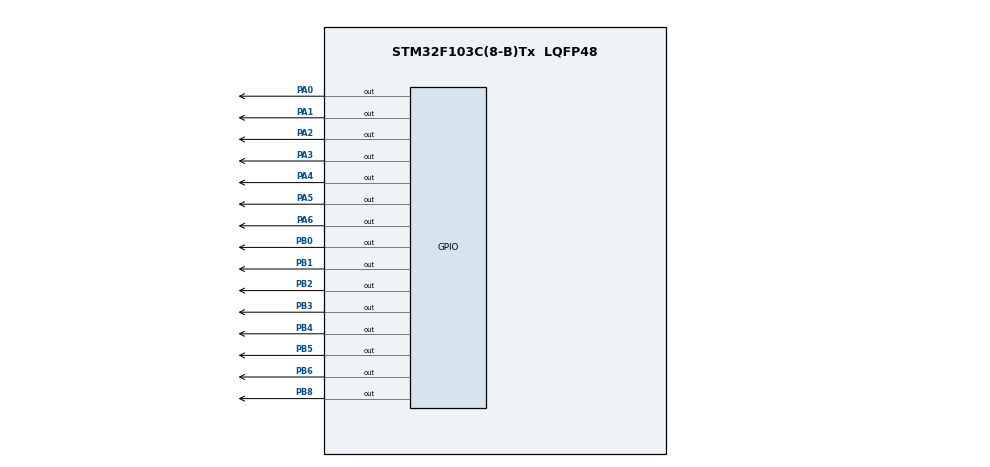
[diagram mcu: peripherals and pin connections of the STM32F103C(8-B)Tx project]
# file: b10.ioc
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Mcu.Family=STM32F1
Mcu.Name=STM32F103C(8-B)Tx
Mcu.Package=LQFP48
NVIC.PriorityGroup=NVIC_PRIORITYGROUP_4
NVIC.TIM2_IRQn=true\:0\:0\:false\:false\:true\:true\:true\:true
PA0-WKUP.Signal=GPIO_Output
PA1.Signal=GPIO_Output
PA13.Mode=Serial_Wire
PA13.Signal=SYS_JTMS-SWDIO
PA14.Mode=Serial_Wire
PA14.Signal=SYS_JTCK-SWCLK
PA2.Signal=GPIO_Output
PA3.Signal=GPIO_Output
PA4.Signal=GPIO_Output
PA5.Signal=GPIO_Output
PA6.Signal=GPIO_Output
PB0.Signal=GPIO_Output
PB1.Signal=GPIO_Output
PB2.Signal=GPIO_Output
PB3.Signal=GPIO_Output
PB4.Signal=GPIO_Output
PB5.Signal=GPIO_Output
PB6.Signal=GPIO_Output
PB8.Signal=GPIO_Output
ProjectManager.HeapSize=0x200
ProjectManager.StackSize=0x400
ProjectManager.TargetToolchain=MDK-ARM V5.32
RCC.APB1Freq_Value=8000000
RCC.APB2Freq_Value=8000000
TIM2.AutoReloadPreload=TIM_AUTORELOAD_PRELOAD_ENABLE
TIM2.Period=4999
TIM2.Prescaler=1599
VP_TIM2_VS_ClockSourceINT.Mode=Internal
board=custom

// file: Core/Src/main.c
/* USER CODE BEGIN Header */
/**
  ******************************************************************************
  * @file           : main.c
  * @brief          : Main program body
  ******************************************************************************
  * @attention
  *
  * Copyright (c) 2022 STMicroelectronics.
  * All rights reserved.
  *
  * This software is licensed under terms that can be found in the LICENSE file
  * in the root directory of this software component.
  * If no LICENSE file comes with this software, it is provided AS-IS.
  *
  ******************************************************************************
  */
/* USER CODE END Header */
#include "main.h"

/* USER CODE BEGIN Includes */
#include "led7.h"
#include <stdio.h>
/* USER CODE END Includes */

TIM_HandleTypeDef htim2;

/* USER CODE BEGIN PV */
int chuc = 0 ;
int donvi = 0 ;
volatile int count = 55;

/* USER CODE END PV */

void SystemClock_Config(void);
static void MX_GPIO_Init(void);
static void MX_TIM2_Init(void);

/* USER CODE BEGIN 0 */
void HAL_TIM_PeriodElapsedCallback(TIM_HandleTypeDef *htim)
{
 if(htim->Instance == htim2.Instance)
 {
		count++;
 }
}
/* USER CODE END 0 */

int main(void)
{

  /* MCU Configuration--------------------------------------------------------*/

  /* Reset of all peripherals, Initializes the Flash interface and the Systick. */
  HAL_Init();

  /* Configure the system clock */
  SystemClock_Config();

  /* Initialize all configured peripherals */
  MX_GPIO_Init();
  MX_TIM2_Init();
  /* USER CODE BEGIN 2 */
	HAL_TIM_Base_Start_IT(&htim2);
	LED7A_Number(0);
	LED7_Number(0);
  /* USER CODE END 2 */

  /* Infinite loop */
  while (1)
  {

    /* USER CODE BEGIN 3 */
		if(count ==60)
			{
				chuc = 0;
				donvi = 0;
				count =0;
			}
		chuc = count/10;
		LED7A_Number(chuc);
		donvi = count%10;
		LED7_Number(donvi);
  }
  /* USER CODE END 3 */
}

void SystemClock_Config(void)
{
  RCC_OscInitTypeDef RCC_OscInitStruct = {0};
  RCC_ClkInitTypeDef RCC_ClkInitStruct = {0};

  /** Initializes the RCC Oscillators according to the specified parameters
  * in the RCC_OscInitTypeDef structure.
  */
  RCC_OscInitStruct.OscillatorType = RCC_OSCILLATORTYPE_HSI;
  RCC_OscInitStruct.HSIState = RCC_HSI_ON;
  RCC_OscInitStruct.HSICalibrationValue = RCC_HSICALIBRATION_DEFAULT;
  RCC_OscInitStruct.PLL.PLLState = RCC_PLL_NONE;
  if (HAL_RCC_OscConfig(&RCC_OscInitStruct) != HAL_OK)
  {
    Error_Handler();
  }

  /** Initializes the CPU, AHB and APB buses clocks
  */
  RCC_ClkInitStruct.ClockType = RCC_CLOCKTYPE_HCLK|RCC_CLOCKTYPE_SYSCLK
                              |RCC_CLOCKTYPE_PCLK1|RCC_CLOCKTYPE_PCLK2;
  RCC_ClkInitStruct.SYSCLKSource = RCC_SYSCLKSOURCE_HSI;
  RCC_ClkInitStruct.AHBCLKDivider = RCC_SYSCLK_DIV1;
  RCC_ClkInitStruct.APB1CLKDivider = RCC_HCLK_DIV1;
  RCC_ClkInitStruct.APB2CLKDivider = RCC_HCLK_DIV1;

  if (HAL_RCC_ClockConfig(&RCC_ClkInitStruct, FLASH_LATENCY_0) != HAL_OK)
  {
    Error_Handler();
  }
}

static void MX_TIM2_Init(void)
{

  TIM_ClockConfigTypeDef sClockSourceConfig = {0};
  TIM_MasterConfigTypeDef sMasterConfig = {0};

  htim2.Instance = TIM2;
  htim2.Init.Prescaler = 1599;
  htim2.Init.CounterMode = TIM_COUNTERMODE_UP;
  htim2.Init.Period = 4999;
  htim2.Init.ClockDivision = TIM_CLOCKDIVISION_DIV1;
  htim2.Init.AutoReloadPreload = TIM_AUTORELOAD_PRELOAD_ENABLE;
  if (HAL_TIM_Base_Init(&htim2) != HAL_OK)
  {
    Error_Handler();
  }
  sClockSourceConfig.ClockSource = TIM_CLOCKSOURCE_INTERNAL;
  if (HAL_TIM_ConfigClockSource(&htim2, &sClockSourceConfig) != HAL_OK)
  {
    Error_Handler();
  }
  sMasterConfig.MasterOutputTrigger = TIM_TRGO_RESET;
  sMasterConfig.MasterSlaveMode = TIM_MASTERSLAVEMODE_DISABLE;
  if (HAL_TIMEx_MasterConfigSynchronization(&htim2, &sMasterConfig) != HAL_OK)
  {
    Error_Handler();
  }

}

static void MX_GPIO_Init(void)
{
  GPIO_InitTypeDef GPIO_InitStruct = {0};

  /* GPIO Ports Clock Enable */
  __HAL_RCC_GPIOA_CLK_ENABLE();
  __HAL_RCC_GPIOB_CLK_ENABLE();

  /*Configure GPIO pin Output Level */
  HAL_GPIO_WritePin(GPIOA, GPIO_PIN_0|GPIO_PIN_1|GPIO_PIN_2|GPIO_PIN_3
                          |GPIO_PIN_4|GPIO_PIN_5|GPIO_PIN_6, GPIO_PIN_RESET);

  /*Configure GPIO pin Output Level */
  HAL_GPIO_WritePin(GPIOB, GPIO_PIN_0|GPIO_PIN_1|GPIO_PIN_2|GPIO_PIN_3
                          |GPIO_PIN_4|GPIO_PIN_5|GPIO_PIN_6|GPIO_PIN_8, GPIO_PIN_RESET);

  /*Configure GPIO pins : PA0 PA1 PA2 PA3
                           PA4 PA5 PA6 */
  GPIO_InitStruct.Pin = GPIO_PIN_0|GPIO_PIN_1|GPIO_PIN_2|GPIO_PIN_3
                          |GPIO_PIN_4|GPIO_PIN_5|GPIO_PIN_6;
  GPIO_InitStruct.Mode = GPIO_MODE_OUTPUT_PP;
  GPIO_InitStruct.Pull = GPIO_NOPULL;
  GPIO_InitStruct.Speed = GPIO_SPEED_FREQ_LOW;
  HAL_GPIO_Init(GPIOA, &GPIO_InitStruct);

  /*Configure GPIO pins : PB0 PB1 PB2 PB3
                           PB4 PB5 PB6 PB8 */
  GPIO_InitStruct.Pin = GPIO_PIN_0|GPIO_PIN_1|GPIO_PIN_2|GPIO_PIN_3
                          |GPIO_PIN_4|GPIO_PIN_5|GPIO_PIN_6|GPIO_PIN_8;
  GPIO_InitStruct.Mode = GPIO_MODE_OUTPUT_PP;
  GPIO_InitStruct.Pull = GPIO_NOPULL;
  GPIO_InitStruct.Speed = GPIO_SPEED_FREQ_LOW;
  HAL_GPIO_Init(GPIOB, &GPIO_InitStruct);

}

void Error_Handler(void)
{
  __disable_irq();
  while (1)
  {
  }
}
